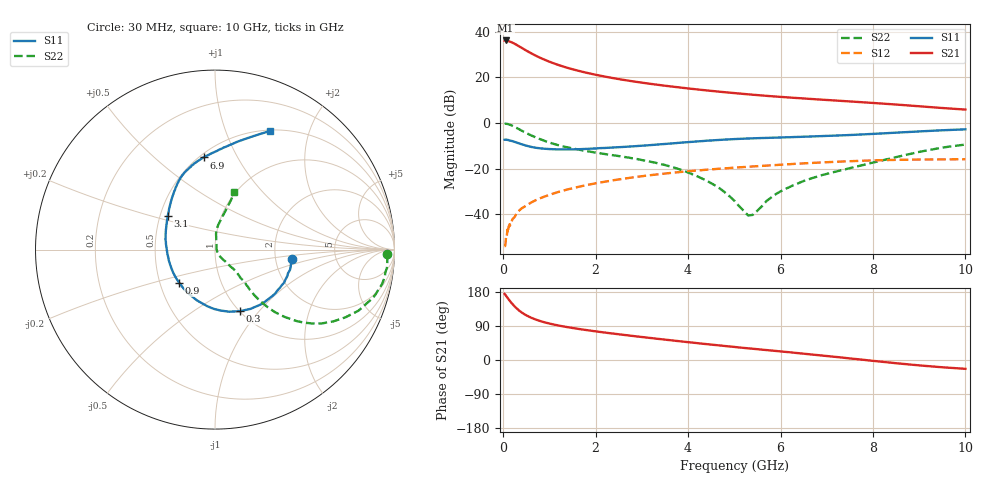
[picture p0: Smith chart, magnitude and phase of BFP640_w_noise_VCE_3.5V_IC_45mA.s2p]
! (c) 2013  Infineon Technologies AG, Munich
! Infineon Technologies  Discrete & RF Semiconductors
! BFP640
! VCE =  3.5 V,  IC =  45 mA
! Common Emitter S-Parameters:  Apr 2013
# GHz  S  MA  R  50
!  f  S11  S21  S12  S22
! GHz  MAG  ANG  MAG  ANG  MAG  ANG  MAG  ANG
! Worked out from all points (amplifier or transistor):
!   99 points, 30 MHz to 10 GHz, reference 50 ohm
!   highest |S21| = 36.2 dB at 50 MHz (marker M1)
!   |S21| within 3 dB of that: start of sweep to 379 MHz
!   unconditionally stable (mu >= 1): 1.778 GHz to end of sweep
!   at 350 MHz: K = 0.48, MSG = 35.9 dB, |S12| = -38.3 dB
!   at 3.5 GHz: K = 1.06, MAG = 17.7 dB, |S12| = -22.2 dB
!   at 10 GHz: K = 1.06, MAG = 9.4 dB, |S12| = -15.9 dB
!   lowest NFmin = 1.34 dB at 450 MHz
!   S11 on the Smith chart (normalised r, x): 30 MHz: 2.46, -0.32; 300 MHz: 1.00, -0.80; 900 MHz: 0.63, -0.25; 3.1 GHz: 0.55, +0.23; 6.9 GHz: 0.52, +0.74; 10 GHz: 0.51, +1.44
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0.03  0.43 -7.0  64.12 174.6  0.002 81.4  0.9576 -1.6
0.05  0.4323 -12.8  64.44 171.5  0.0023 78.8  0.9628 -4.8
0.08  0.4289 -20.4  63.89 166.2  0.0035 87.7  0.9584 -8.9
0.15  0.4126 -38.0  60.59 154.9  0.0057 75.9  0.9123 -17.8
0.2  0.4006 -49.0  57.62 147.6  0.0078 75.5  0.8684 -23.1
0.25  0.3851 -59.0  54.38 141.0  0.0088 71.3  0.8192 -27.4
0.3  0.3701 -68.1  50.89 135.2  0.011 72.2  0.7704 -31.3
0.35  0.3552 -76.9  47.4 129.9  0.0122 69.8  0.7241 -34.6
0.45  0.3302 -91.2  41.34 121.4  0.0145 68.0  0.6412 -39.4
0.6  0.3004 -109.5  33.93 111.8  0.018 67.3  0.5382 -44.1
0.7  0.287 -119.9  30.02 106.9  0.0203 66.1  0.4857 -46.1
0.9  0.2725 -136.9  24.25 99.2  0.0246 65.1  0.4044 -48.2
1.2  0.2642 -156.5  18.61 90.9  0.031 64.1  0.3254 -49.2
1.7  0.2682 -179.1  13.36 80.7  0.0414 61.3  0.2532 -48.0
2.3  0.288 162.7  9.962 70.8  0.0538 57.2  0.2019 -47.5
3.1  0.323 144.5  7.421 59.3  0.0703 50.6  0.148 -46.4
3.4  0.3419 138.4  6.76 55.1  0.0761 48.2  0.1267 -47.5
5.1  0.4487 114.4  4.435 33.2  0.1068 33.1  0.0152 -39.8
6.7  0.5088 99.3  3.348 14.2  0.1337 18.8  0.0627 83.7
6.9  0.5176 97.1  3.246 11.8  0.137 16.9  0.0724 84.5
8.5  0.6145 78.2  2.54 -8.5  0.1557 0.5  0.1788 78.1
10  0.7272 65.2  1.97 -23.3  0.1606 -11.5  0.3378 71.6
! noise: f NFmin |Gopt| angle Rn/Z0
0.45  1.34  0.29  -171  0.08
0.9  1.35  0.32  -158  0.09
1.5  1.36  0.35  -145  0.12
1.9  1.39  0.36  222  0.14
2.4  1.47  0.38  -126  0.16
3.5  1.6  0.42  -109  0.2
5.5  1.85  0.45  -92  0.34
10  2.45  0.65  -47  0.99
